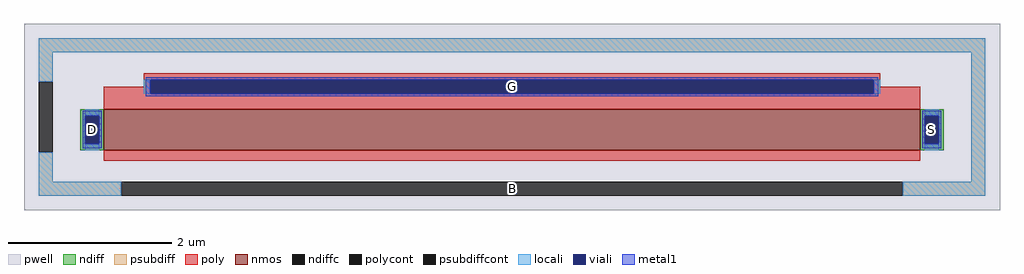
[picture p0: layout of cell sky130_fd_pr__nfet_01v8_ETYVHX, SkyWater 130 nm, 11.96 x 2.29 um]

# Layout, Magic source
magic
tech sky130A
magscale 1 2
<< pwell >>
rect -1196 -229 1196 229
<< nmos >>
rect -1000 -81 1000 19
<< ndiff >>
rect -1058 3 -1000 19
rect -1058 -65 -1046 3
rect -1012 -65 -1000 3
rect -1058 -81 -1000 -65
rect 1000 3 1058 19
rect 1000 -65 1012 3
rect 1046 -65 1058 3
rect 1000 -81 1058 -65
<< ndiffc >>
rect -1046 -65 -1012 3
rect 1012 -65 1046 3
<< psubdiff >>
rect -1160 159 1160 193
rect -1160 87 -1126 159
rect -1160 -159 -1126 -87
rect 1126 -159 1160 159
rect -1160 -193 -958 -159
rect 958 -193 1160 -159
<< psubdiffcont >>
rect -1160 -87 -1126 87
rect -958 -193 958 -159
<< poly >>
rect -902 91 902 107
rect -902 74 -886 91
rect -1000 57 -886 74
rect 886 74 902 91
rect 886 57 1000 74
rect -1000 19 1000 57
rect -1000 -107 1000 -81
<< polycont >>
rect -886 57 886 91
<< locali >>
rect -1160 159 1160 193
rect -1160 87 -1126 159
rect -902 57 -886 91
rect 886 57 902 91
rect -1046 3 -1012 19
rect -1046 -81 -1012 -65
rect 1012 3 1046 19
rect 1012 -81 1046 -65
rect -1160 -159 -1126 -87
rect 1126 -159 1160 159
rect -1160 -193 -958 -159
rect 958 -193 1160 -159
<< viali >>
rect -886 57 886 91
rect -1046 -65 -1012 3
rect 1012 -65 1046 3
<< metal1 >>
rect -898 91 898 97
rect -898 57 -886 91
rect 886 57 898 91
rect -898 51 898 57
rect -1052 3 -1006 15
rect -1052 -65 -1046 3
rect -1012 -65 -1006 3
rect -1052 -77 -1006 -65
rect 1006 3 1052 15
rect 1006 -65 1012 3
rect 1046 -65 1052 3
rect 1006 -77 1052 -65
<< labels >>
rlabel psubdiffcont 0 -176 0 -176 0 B
port 1 nsew
rlabel ndiffc -1029 -31 -1029 -31 0 D
port 2 nsew
rlabel ndiffc 1029 -31 1029 -31 0 S
port 3 nsew
rlabel polycont 0 74 0 74 0 G
port 4 nsew
<< properties >>
string FIXED_BBOX -1143 -176 1143 176
string gencell sky130_fd_pr__nfet_01v8
string library sky130
string parameters w 0.5 l 10 m 1 nf 1 diffcov 90 polycov 90 guard 1 glc 1 grc 0 gtc 0 gbc 1 tbcov 90 rlcov 90 topc 1 botc 0 poverlap 0 doverlap 1 lmin 0.15 wmin 0.42 class mosfet compatible {sky130_fd_pr__nfet_01v8 sky130_fd_pr__nfet_01v8_lvt  sky130_fd_bs_flash__special_sonosfet_star  sky130_fd_pr__nfet_g5v0d10v5 sky130_fd_pr__nfet_05v0_nvt  sky130_fd_pr__nfet_03v3_nvt} full_metal 1 conn_gates 0 viasrc 90 viadrn 90 viagate 90 viagb 0 viagr 0 viagl 0 viagt 0 doports 1
<< end >>
